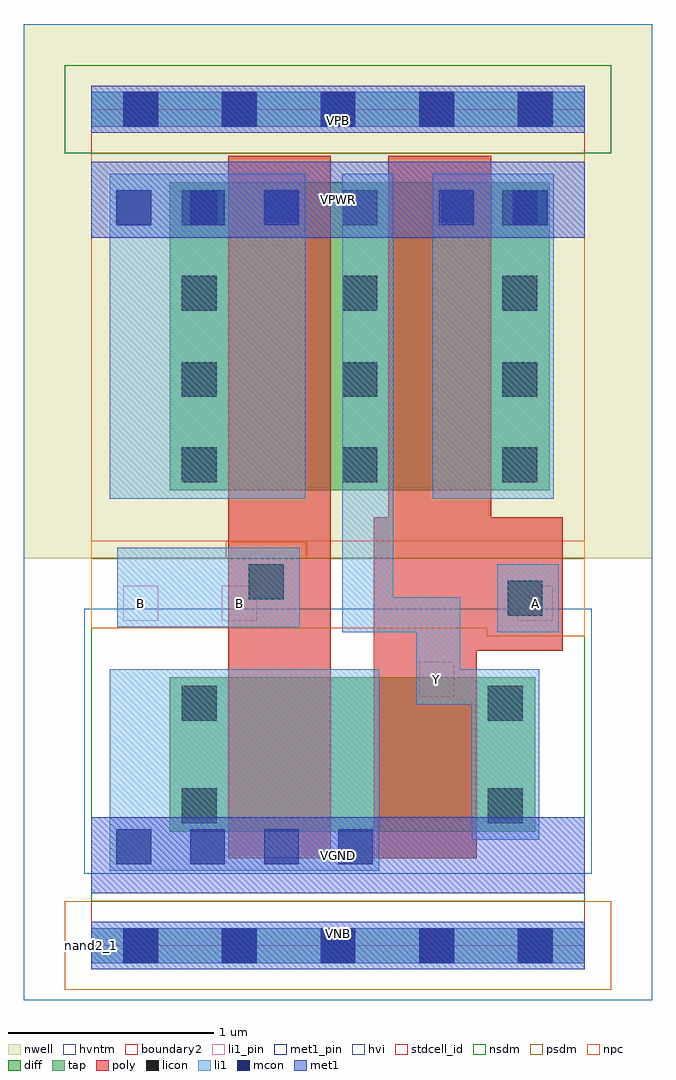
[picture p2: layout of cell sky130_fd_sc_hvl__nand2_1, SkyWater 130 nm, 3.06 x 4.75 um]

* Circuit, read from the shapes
.subckt sky130_fd_sc_hvl__nand2_1 A B VGND VNB VPB VPWR Y
XM1 n1 B VGND VNB sky130_fd_pr__nfet_g5v0d10v5 w=0.75 l=0.5
XM2 Y A n1 VNB sky130_fd_pr__nfet_g5v0d10v5 w=0.75 l=0.5
XM3 Y B VPWR VPB sky130_fd_pr__pfet_g5v0d10v5 w=1.5 l=0.5
XM4 VPWR A Y VPB sky130_fd_pr__pfet_g5v0d10v5 w=1.5 l=0.5
.ends

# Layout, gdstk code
import gdstk
lib = gdstk.Library(unit=1e-6, precision=1e-09)
def R(c, l, rs):  # rectangles x0, y0, x1, y1
    for r in rs: c.add(gdstk.rectangle(r[:2], r[2:], *l))
def A(c, l, x, y, w, h, nx, ny, dx, dy):  # array of equal rectangles
    R(c, l, [(x+i*dx, y+j*dy, x+i*dx+w, y+j*dy+h) for i in range(nx) for j in range(ny)])
def P(c, l, *ps):  # polygons
    for p in ps: c.add(gdstk.Polygon(p, *l))
nwell = (64, 20)
diff = (65, 20)
tap = (65, 44)
poly = (66, 20)
licon = (66, 44)
li1_pin = (67, 16)
li1 = (67, 20)
mcon = (67, 44)
met1_pin = (68, 16)
met1 = (68, 20)
hvi = (75, 20)
stdcell_id = (81, 4)
nsdm = (93, 44)
psdm = (94, 20)
npc = (95, 20)
hvntm = (125, 20)
boundary2 = (236, 0)

sky130_fd_sc_hvl__nand2_ = lib.new_cell('sky130_fd_sc_hvl__nand2_1')
R(sky130_fd_sc_hvl__nand2_, nwell, [(-0.33,1.885,2.73,4.485)])
R(sky130_fd_sc_hvl__nand2_, diff, [(0.38,0.555,2.16,1.305), (0.38,2.215,2.23,3.715)])
R(sky130_fd_sc_hvl__nand2_, tap, [(0,-0.085,2.4,0.085), (0,3.985,2.4,4.155)])
R(sky130_fd_sc_hvl__nand2_, poly, [(0.665,0.425,1.165,3.845)])
P(sky130_fd_sc_hvl__nand2_, poly, [(1.375,0.425),(1.375,2.085),(1.445,2.085),(1.445,3.845),(1.945,3.845),(1.945,2.085),(2.295,2.085),(2.295,1.435),(1.875,1.435),(1.875,0.425)])
A(sky130_fd_sc_hvl__nand2_, licon, 0.155, -0.085, 0.17, 0.17, 5, 2, 0.48, 4.07)
A(sky130_fd_sc_hvl__nand2_, licon, 0.44, 2.255, 0.17, 0.17, 3, 2, 0.78, 0.415)
A(sky130_fd_sc_hvl__nand2_, licon, 0.44, 3.09, 0.17, 0.17, 3, 2, 0.78, 0.415)
R(sky130_fd_sc_hvl__nand2_, licon, [(0.44,0.595,0.61,0.765), (1.93,0.595,2.1,0.765), (0.44,1.095,0.61,1.265), (1.93,1.095,2.1,1.265), (2.025,1.605,2.195,1.775), (0.765,1.685,0.935,1.855)])
R(sky130_fd_sc_hvl__nand2_, li1_pin, [(1.595,1.21,1.765,1.38), (0.155,1.58,0.325,1.75), (0.635,1.58,0.805,1.75), (2.075,1.58,2.245,1.75)])
R(sky130_fd_sc_hvl__nand2_, li1, [(0,-0.085,2.4,0.085), (0.09,0.365,1.4,1.345), (1.975,1.525,2.275,1.855), (0.125,1.55,1.015,1.935), (0.09,2.175,1.04,3.755), (1.66,2.175,2.25,3.755), (0,3.985,2.4,4.155)])
P(sky130_fd_sc_hvl__nand2_, li1, [(1.85,0.515),(1.85,1.175),(1.58,1.175),(1.58,1.525),(1.22,1.525),(1.22,3.755),(1.47,3.755),(1.47,1.695),(1.795,1.695),(1.795,1.345),(2.18,1.345),(2.18,0.515)])
A(sky130_fd_sc_hvl__nand2_, mcon, 0.12, 0.395, 0.17, 0.17, 4, 1, 0.36, 0)
A(sky130_fd_sc_hvl__nand2_, mcon, 0.12, 3.505, 0.17, 0.17, 3, 1, 0.36, 0)
R(sky130_fd_sc_hvl__nand2_, mcon, [(0.155,-0.085,0.325,0.085), (0.155,-0.085,0.325,0.085), (0.635,-0.085,0.805,0.085), (0.635,-0.085,0.805,0.085), (1.115,-0.085,1.285,0.085), (1.115,-0.085,1.285,0.085), (1.595,-0.085,1.765,0.085), (1.595,-0.085,1.765,0.085), (2.075,-0.085,2.245,0.085), (2.075,-0.085,2.245,0.085), (1.69,3.505,1.86,3.675), (2.05,3.505,2.22,3.675), (0.155,3.985,0.325,4.155), (0.155,3.985,0.325,4.155), (0.635,3.985,0.805,4.155), (0.635,3.985,0.805,4.155), (1.115,3.985,1.285,4.155), (1.115,3.985,1.285,4.155), (1.595,3.985,1.765,4.155), (1.595,3.985,1.765,4.155), (2.075,3.985,2.245,4.155), (2.075,3.985,2.245,4.155)])
R(sky130_fd_sc_hvl__nand2_, met1_pin, [(0,0,2.4,0.115), (0,0.255,2.4,0.625), (0,3.445,2.4,3.815), (0,3.955,2.4,4.07)])
R(sky130_fd_sc_hvl__nand2_, met1, [(0,-0.115,2.4,0.115), (0,0.255,2.4,0.625), (0,3.445,2.4,3.815), (0,3.955,2.4,4.185)])
R(sky130_fd_sc_hvl__nand2_, hvi, [(-0.33,-0.265,2.73,4.485)])
R(sky130_fd_sc_hvl__nand2_, stdcell_id, [(0,0,2.4,4.07)])
R(sky130_fd_sc_hvl__nand2_, nsdm, [(0,0.215,2.4,1.885), (-0.13,3.855,2.53,4.285), (0,3.855,2.4,4.07)])
R(sky130_fd_sc_hvl__nand2_, psdm, [(-0.13,-0.215,2.53,0.215)])
P(sky130_fd_sc_hvl__nand2_, psdm, [(0,1.885),(0,3.855),(2.4,3.855),(2.4,1.885),(1.045,1.885),(1.045,1.965),(0.655,1.965),(0.655,1.885)])
P(sky130_fd_sc_hvl__nand2_, npc, [(1.925,1.505),(1.925,1.545),(0,1.545),(0,1.97),(2.4,1.97),(2.4,1.505)])
R(sky130_fd_sc_hvl__nand2_, hvntm, [(-0.035,0.35,2.435,1.64)])
R(sky130_fd_sc_hvl__nand2_, boundary2, [(0,0,2.4,4.07)])
sky130_fd_sc_hvl__nand2_.add(gdstk.Label('nand2_1', (0,0), layer=83, texttype=44))
sky130_fd_sc_hvl__nand2_.add(gdstk.Label('VGND', (1.2,0.44), layer=68, texttype=5))
sky130_fd_sc_hvl__nand2_.add(gdstk.Label('VNB', (1.2,0.058), layer=68, texttype=5))
sky130_fd_sc_hvl__nand2_.add(gdstk.Label('VPWR', (1.2,3.63), layer=68, texttype=5))
sky130_fd_sc_hvl__nand2_.add(gdstk.Label('VPB', (1.2,4.013), layer=68, texttype=5))
sky130_fd_sc_hvl__nand2_.add(gdstk.Label('A', (2.16,1.665), layer=67, texttype=5))
sky130_fd_sc_hvl__nand2_.add(gdstk.Label('Y', (1.68,1.295), layer=67, texttype=5))
sky130_fd_sc_hvl__nand2_.add(gdstk.Label('B', (0.24,1.665), layer=67, texttype=5))
sky130_fd_sc_hvl__nand2_.add(gdstk.Label('B', (0.72,1.665), layer=67, texttype=5))

lib.write_gds('sky130_fd_sc_hvl__nand2_1.gds')
